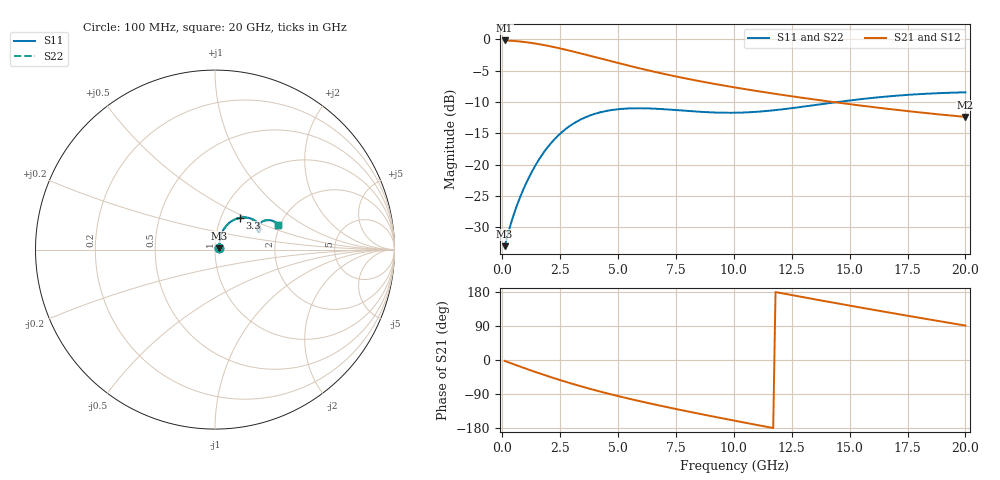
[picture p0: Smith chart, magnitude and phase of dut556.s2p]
! Touchstone file exported from HFSS 2024.1.0
!  File:  C:/UserFiles/LocalFiles/RDL_TSV_Batchsim/temp_RDL_TSV_556_1779750777.aedt
!  Generated:  07:31:38 AM May 26, 2026
!  Design:  RDL_TSV
!  Project:  temp_RDL_TSV_556_1779750777
!  Setup:  Setup1
!  Solution:  Sweep
! Variables:
!  dtsv = 7.29um
!  hbump = 3um
!  htsv = 90.48um
!  ldown = 611.91um
!  lrdl = 513.58um
!  p = 40
!  p1 = 58.55um
!  rhole = 10um
!  subl = 3890.05um
!  t = 450um
!  tdown = 2.43um
!  trdl = 4.57um
!  viad = 10um
!  wdown = 20.73um
!  wrdl = 22.63um
!  xbump = 18um
# GHz S MA R 50.000000
! Terminal data exported
! Port[1] = TM1_1_T1
! Port[2] = TM1_4_T1
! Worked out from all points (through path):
!   200 points, 100 MHz to 20 GHz, reference 50 ohm
!   highest |S21| = -0.19 dB at 100 MHz (marker M1); lowest = -12.4 dB at 20 GHz (marker M2)
!   group delay of S21, straight-line fit = 35.3 ps
!   lowest |S11| = -33.0 dB at 100 MHz (marker M3), VSWR 1.05, Z = 52.2 + j0.731 ohm
!   |S11| at or under -10 dB: start of sweep to 14.52 GHz
!   |S22| runs from -33.0 to -8.5 dB; largest |S21 - S12| = 6.9e-15
!   S11 on the Smith chart (normalised r, x): 100 MHz: 1.04, +0.01; 3.3 GHz: 1.23, +0.46; 20 GHz: 1.94, +0.63
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0.1  0.02228 18.3  0.9786 -2.3  0.9786 -2.3  0.02228 18.3
! Gamma 0 0 0 0
! Port Impedance 50 0 50 0
0.4  0.03511 47.1  0.9724 -9.2  0.9724 -9.2  0.03512 47.1
0.7  0.05086 58.8  0.9626 -15.8  0.9626 -15.8  0.05087 58.8
1.1  0.07549 65.8  0.9439 -24.6  0.9439 -24.6  0.07546 65.7
1.5  0.1035 67.4  0.92 -33.1  0.92 -33.1  0.1034 67.3
1.9  0.1331 66.0  0.8919 -41.3  0.8919 -41.3  0.1329 65.8
2.4  0.1694 61.9  0.853 -51.2  0.853 -51.2  0.1691 61.7
2.8  0.1961 57.7  0.8202 -58.7  0.8202 -58.7  0.1956 57.6
3.3  0.2246 52.1  0.7785 -67.7  0.7785 -67.7  0.224 52.0
3.5  0.2343 49.9  0.7619 -71.2  0.7619 -71.2  0.2336 49.7
4.3  0.263 41.4  0.6978 -84.5  0.6978 -84.5  0.2622 41.3
5.1  0.2776 34.4  0.6395 -96.7  0.6395 -96.7  0.2766 34.3
5.9  0.2814 28.9  0.588 -108.2  0.588 -108.2  0.2804 28.8
6.8  0.2778 24.8  0.5382 -120.3  0.5382 -120.3  0.2767 24.7
8.3  0.2654 22.4  0.4715 -139.3  0.4715 -139.3  0.2641 22.3
10.1  0.2592 25.0  0.4108 -161.0  0.4108 -161.0  0.2578 24.9
11.6  0.2696 28.4  0.3711 -178.4  0.3711 -178.4  0.2682 28.4
13.4  0.2965 30.6  0.3321 161.2  0.3321 161.2  0.2952 30.6
15  0.3245 30.1  0.3032 143.6  0.3032 143.6  0.3232 30.1
16.7  0.3503 27.8  0.2775 125.3  0.2775 125.3  0.349 27.8
18.3  0.3674 24.9  0.2575 108.4  0.2575 108.4  0.366 24.9
20  0.377 21.7  0.24 90.8  0.24 90.8  0.3756 21.7
